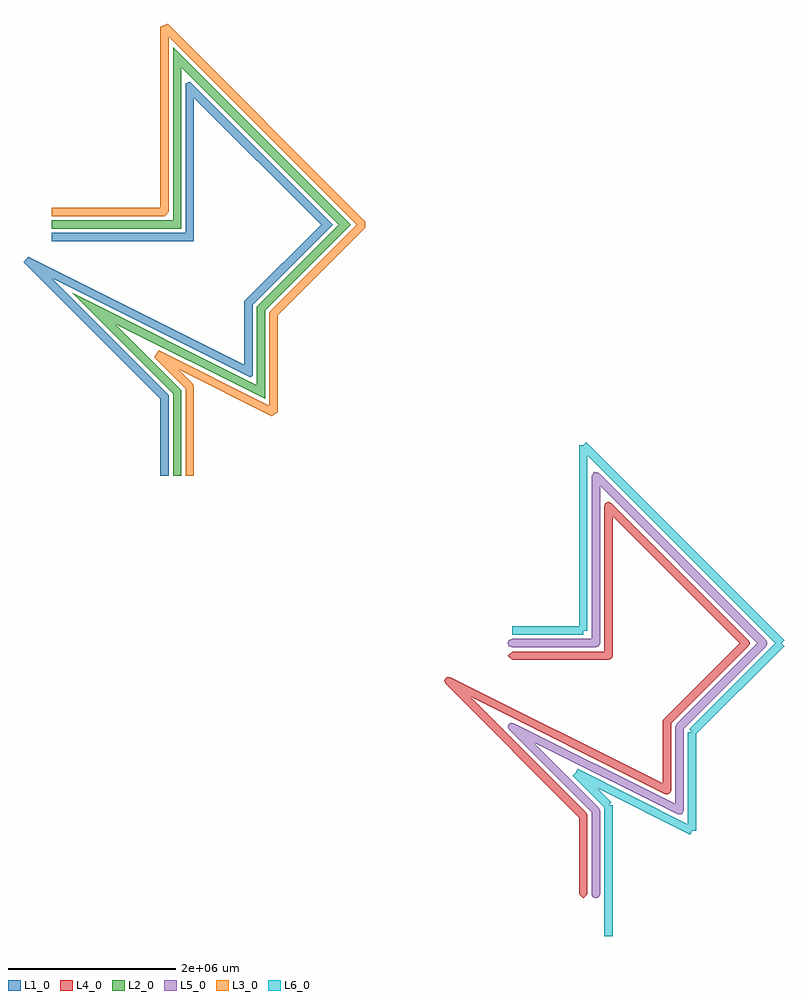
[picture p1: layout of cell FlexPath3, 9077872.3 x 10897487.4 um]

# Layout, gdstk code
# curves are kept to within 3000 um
import gdstk
lib = gdstk.Library(unit=1e-6, precision=1e-07)
def P(c, l, *ps):  # polygons
    for p in ps: c.add(gdstk.Polygon(p, *l))
L1_0 = (1, 0)
L2_0 = (2, 0)
L3_0 = (3, 0)
L4_0 = (4, 0)
L5_0 = (5, 0)
L6_0 = (6, 0)

flexpath3 = lib.new_cell('FlexPath3')
P(flexpath3, L1_0, [(0,4900000),(-500000,4900000),(-500000,4800000),(1200000,4800000),(1200000,6517157.3),(2717157.3,5000000),(1800000,4082842.7),(1800000,3323606.8),(-782034.9,4614624.3),(-830384.9,4547542.2),(800000,2917157.3),(800000,2000000),(900000,2000000),(900000,2958578.6),(-506449.5,4365028.2),(1872360.7,3175623.1),(1900000,3192705.1),(1900000,4041421.4),(2858578.6,5000000),(1150000,6708578.6),(1100000,6687868),(1100000,4900000)])
P(flexpath3, L2_0, [(0,5050000),(-500000,5050000),(-500000,4950000),(1050000,4950000),(1050000,6879289.3),(2929289.3,5000000),(1950000,4020710.7),(1950000,3080901.7),(-253224.8,4182514.1),(950000,2979289.3),(950000,2000000),(1050000,2000000),(1050000,3020710.7),(253224.8,3817485.9),(2050000,2919098.3),(2050000,3979289.3),(3070710.7,5000000),(950000,7120710.7),(950000,5050000)])
P(flexpath3, L3_0, [(0,5200000),(-500000,5200000),(-500000,5100000),(850000,5100000),(900000,5150000),(900000,7241421.4),(3141421.4,5000000),(2114644.7,3973223.3),(2100000,3937868),(2100000,2838196.6),(782034.9,3497179.1),(724318.9,3417102.4),(1100000,3041421.4),(1100000,2000000),(1200000,2000000),(1200000,3062132),(1185355.3,3097487.4),(1012899,3269943.7),(2127639.3,2712573.5),(2200000,2757294.9),(2200000,3917157.3),(3247487.4,4964644.7),(3247487.4,5035355.3),(885355.3,7397487.4),(800000,7362132),(800000,5200000)])
P(flexpath3, L4_0, [(5000000,-100000),(4950000,-150000),(5000000,-200000),(6150000,-200000),(6175000,-193301.3),(6193301.3,-175000),(6200000,-150000),(6200000,1517157.3),(7717157.3,0),(6806698.7,-912868),(6800000,-937868),(6800000,-1676393.2),(4262686.4,-407736.4),(4217401,-408022.9),(4190921.7,-444761),(4204970.4,-487813.1),(5800000,-2082842.7),(5800000,-3000000),(5850000,-3050000),(5900000,-3000000),(5900000,-2062132),(5893301.3,-2037132),(4493550.5,-634971.8),(6827639.3,-1802016.3),(6860643,-1806149),(6888936.8,-1788662.5),(6900000,-1757294.9),(6900000,-958578.6),(7823223.3,-35355.3),(7836164.3,-12941),(7836164.3,12941),(7823223.3,35355.3),(6185355.3,1673223.3),(6150000,1687868),(6114644.7,1673223.3),(6100000,1637868),(6100000,-100000)])
P(flexpath3, L5_0, [(5000000,50000),(4962500,34375),(4950000,0),(4962500,-34375),(5000000,-50000),(6000000,-50000),(6035355.3,-35355.3),(6050000,0),(6050000,1879289.3),(7929289.3,0),(6964644.7,-964644.7),(6950000,-1000000),(6950000,-1919098.3),(5022360.7,-955278.6),(4986299.8,-951449.2),(4959437.9,-970764.5),(4949608.3,-1002356),(4964644.7,-1035355.3),(5950000,-2020710.7),(5950000,-3000000),(5965625,-3037500),(6000000,-3050000),(6034375,-3037500),(6050000,-3000000),(6050000,-2000000),(6035355.3,-1964644.7),(5253224.8,-1182514.1),(6977639.3,-2044721.4),(7026286.6,-2042532.5),(7050000,-2000000),(7050000,-1020710.7),(8035355.3,-35355.3),(8050000,0),(8035355.3,35355.3),(6035355.3,2035355.3),(5980865.8,2046194),(5950000,2000000),(5950000,50000)])
P(flexpath3, L6_0, [(5000000,200000),(5000000,100000),(5850000,100000),(5850000,150000),(5900000,150000),(5900000,2241421.4),(8141421.4,0),(7114644.7,-1026776.7),(7150000,-1062132),(7100000,-1062132),(7100000,-2161803.4),(5782034.9,-1502820.9),(5759674.3,-1547542.2),(5724318.9,-1582897.6),(6100000,-1958578.6),(6100000,-3500000),(6200000,-3500000),(6200000,-1937868),(6150000,-1937868),(6185355.3,-1902512.6),(6012899,-1730056.3),(7127639.3,-2287426.5),(7150000,-2242705.1),(7200000,-2242705.1),(7200000,-1082842.7),(8247487.4,-35355.3),(8212132,0),(8247487.4,35355.3),(5885355.3,2397487.4),(5850000,2362132),(5800000,2362132),(5800000,200000)])

lib.write_gds('FlexPath3.gds')
